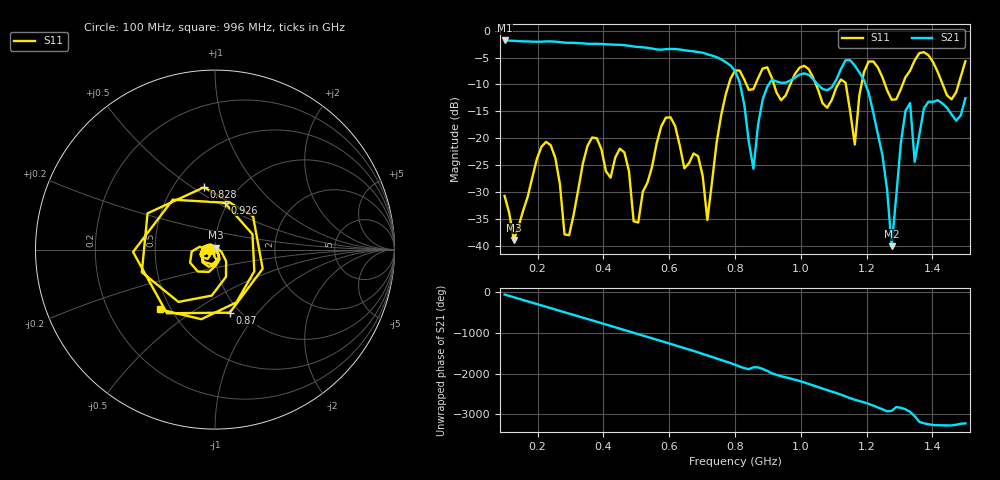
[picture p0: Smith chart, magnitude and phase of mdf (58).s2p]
! NanoVNA-App
! Date: 2025-09-25 15:38:53
! Start: 100MHz Stop: 1,5GHz Points: 101
! S-Parameter data: F S11 S21 S12 S22
# Hz S RI R 50
!  Frequency  S11_Real  S11_Imag  S21_Real  S21_Imag  S12_Real  S12_Imag  S22_Real  S22_Imag
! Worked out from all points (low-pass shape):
!   101 points, 100 MHz to 1.5 GHz, reference 50 ohm
!   highest |S21| = -1.80 dB at 100 MHz (marker M1); lowest = -40.1 dB at 1.276 GHz (marker M2)
!   |S21| within 3 dB of the highest: start of sweep to 739.2 MHz
!   lowest |S11| = -39.0 dB at 128 MHz (marker M3), VSWR 1.02, Z = 50.3 + j1.08 ohm
!   |S11| at or under -10 dB: start of sweep to 781 MHz; 1.046 GHz to 1.113 GHz (67.14 MHz wide, 6.22 % of centre); 1.256 GHz to 1.309 GHz (53.51 MHz wide, 4.17 % of centre) (the widest 3 of 7)
!   S12 and S22 are empty: the file has one direction only
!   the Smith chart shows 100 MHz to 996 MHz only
!   S11 on the Smith chart (normalised r, x): 100 MHz: 0.94, -0.01; 828 MHz: 0.70, +0.56; 870 MHz: 0.90, -0.73; 926 MHz: 0.96, +0.54; 996 MHz: 0.44, -0.37
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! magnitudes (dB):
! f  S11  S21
! 100 MHz  -30.8  -1.8
! 128 MHz  -39.0  -1.9
! 212 MHz  -21.6  -2.0
! 282 MHz  -37.9  -2.2
! 338 MHz  -24.6  -2.3
! 464 MHz  -22.7  -2.7
! 506 MHz  -35.7  -3.0
! 576 MHz  -17.8  -3.5
! 716 MHz  -35.2  -4.4
! 800 MHz  -7.4  -7.5
! 828 MHz  -9.1  -13.7
! 856 MHz  -10.9  -25.7
! 870 MHz  -8.9  -17.5
! 926 MHz  -11.5  -9.4
! 996 MHz  -6.9  -8.2
! 1.038 GHz  -8.8  -9.0
! 1.164 GHz  -21.2  -6.5
! 1.192 GHz  -7.7  -9.2
! 1.276 GHz  -12.8  -40.1
! 1.318 GHz  -8.6  -14.9
! 1.346 GHz  -5.5  -24.4
! 1.5 GHz  -5.7  -12.6
